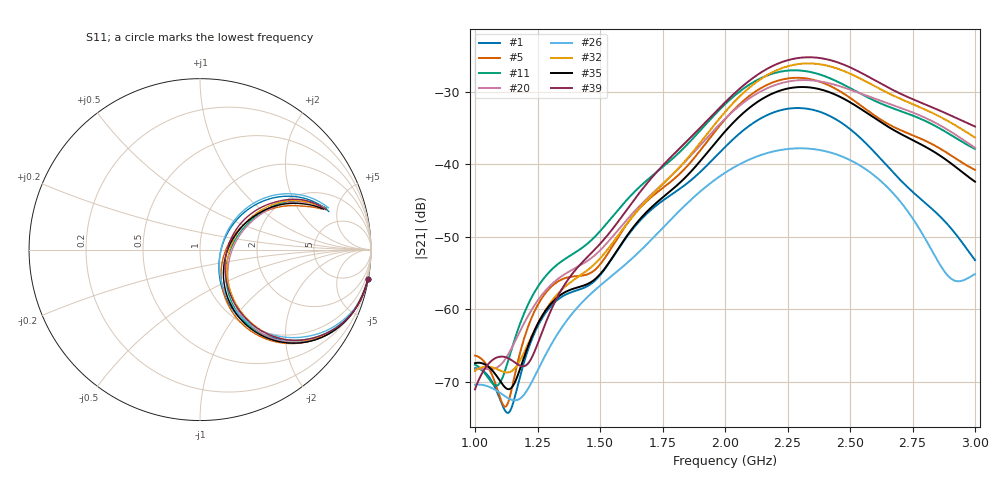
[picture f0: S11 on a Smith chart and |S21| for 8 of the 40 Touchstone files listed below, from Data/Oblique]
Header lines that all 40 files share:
! TOUCHSTONE file generated by CST MICROWAVE STUDIO
! Project name: oblique.cst
! Header version: 2024
! Port assignment regex: !\s*Touchstone port\s*([0-9]+)\s*=\s*(CST MWS port|CST DES external port|CST DES block port)\s*(.+)\s* \(\"(.*)\"\)(\s*mode\s*([0-9]+))?.*
! Touchstone port assignment:
! Touchstone port 1 = CST MWS port 1 ("")
! Touchstone port 2 = CST MWS port 2 ("")
# GHz S DB R 50
Fixed: Fracture = 1, D = 160, Feed = 2.85625, L = 100, R = 0.384908, length = 57.125, wave = 114.25
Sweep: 1 GHz to 3 GHz
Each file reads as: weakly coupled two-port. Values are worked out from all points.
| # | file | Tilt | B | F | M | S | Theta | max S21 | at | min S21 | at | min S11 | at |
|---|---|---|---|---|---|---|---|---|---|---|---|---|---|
| 1 | oblique_81.s2p | 30 | 12.5 | 15 | 50 | 1 | 270 | -32.25 dB | 2.291 GHz | -74.3 dB | 1.132 GHz | -18.4 dB | 2.364 GHz |
| 2 | oblique_82.s2p | 30 | 12.5 | 15 | 10 | 2 | 90 | -26.86 dB | 2.336 GHz | -70.3 dB | 1 GHz | -14.9 dB | 2.368 GHz |
| 3 | oblique_83.s2p | 30 | 12.5 | 15 | 10 | 2 | 180 | -26.86 dB | 2.336 GHz | -70.3 dB | 1 GHz | -14.9 dB | 2.368 GHz |
| 4 | oblique_84.s2p | 30 | 12.5 | 15 | 10 | 2 | 270 | -26.86 dB | 2.336 GHz | -70.3 dB | 1 GHz | -14.9 dB | 2.368 GHz |
| 5 | oblique_85.s2p | 30 | 12.5 | 15 | 30 | 2 | 90 | -28.09 dB | 2.289 GHz | -73.4 dB | 1.118 GHz | -16.9 dB | 2.342 GHz |
| 6 | oblique_86.s2p | 30 | 12.5 | 15 | 30 | 2 | 180 | -28.09 dB | 2.289 GHz | -73.4 dB | 1.118 GHz | -16.9 dB | 2.342 GHz |
| 7 | oblique_87.s2p | 30 | 12.5 | 15 | 30 | 2 | 270 | -28.09 dB | 2.289 GHz | -73.4 dB | 1.118 GHz | -16.9 dB | 2.342 GHz |
| 8 | oblique_88.s2p | 30 | 12.5 | 15 | 50 | 2 | 90 | -32.27 dB | 2.305 GHz | -72.6 dB | 1.139 GHz | -20.4 dB | 2.364 GHz |
| 9 | oblique_89.s2p | 30 | 12.5 | 15 | 50 | 2 | 180 | -32.27 dB | 2.305 GHz | -72.6 dB | 1.139 GHz | -20.4 dB | 2.364 GHz |
| 10 | oblique_90.s2p | 30 | 12.5 | 15 | 50 | 2 | 270 | -32.27 dB | 2.305 GHz | -72.6 dB | 1.139 GHz | -20.4 dB | 2.364 GHz |
| 11 | oblique_91.s2p | 30 | 12.5 | 25 | 10 | 1 | 90 | -27.05 dB | 2.276 GHz | -70.5 dB | 1.086 GHz | -15.4 dB | 2.336 GHz |
| 12 | oblique_92.s2p | 30 | 12.5 | 25 | 10 | 1 | 180 | -27.05 dB | 2.276 GHz | -70.5 dB | 1.086 GHz | -15.4 dB | 2.336 GHz |
| 13 | oblique_93.s2p | 30 | 12.5 | 25 | 10 | 1 | 270 | -27.05 dB | 2.276 GHz | -70.5 dB | 1.086 GHz | -15.4 dB | 2.336 GHz |
| 14 | oblique_94.s2p | 30 | 12.5 | 25 | 30 | 1 | 90 | -29.87 dB | 2.285 GHz | -75.1 dB | 1.126 GHz | -18.5 dB | 2.351 GHz |
| 15 | oblique_95.s2p | 30 | 12.5 | 25 | 30 | 1 | 180 | -29.87 dB | 2.285 GHz | -75.1 dB | 1.126 GHz | -18.5 dB | 2.351 GHz |
| 16 | oblique_96.s2p | 30 | 12.5 | 25 | 30 | 1 | 270 | -29.87 dB | 2.285 GHz | -75.1 dB | 1.126 GHz | -18.5 dB | 2.351 GHz |
| 17 | oblique_97.s2p | 30 | 12.5 | 25 | 50 | 1 | 90 | -36.13 dB | 2.281 GHz | -71.8 dB | 1.125 GHz | -18.1 dB | 2.386 GHz |
| 18 | oblique_98.s2p | 30 | 12.5 | 25 | 50 | 1 | 180 | -36.13 dB | 2.281 GHz | -71.8 dB | 1.125 GHz | -18.1 dB | 2.386 GHz |
| 19 | oblique_99.s2p | 30 | 12.5 | 25 | 50 | 1 | 270 | -36.13 dB | 2.281 GHz | -71.8 dB | 1.125 GHz | -18.1 dB | 2.386 GHz |
| 20 | oblique_100.s2p | 30 | 12.5 | 25 | 10 | 2 | 90 | -28.40 dB | 2.314 GHz | -68.3 dB | 1 GHz | -14.9 dB | 2.353 GHz |
| 21 | oblique_101.s2p | 30 | 12.5 | 25 | 10 | 2 | 180 | -28.40 dB | 2.314 GHz | -68.3 dB | 1 GHz | -14.9 dB | 2.353 GHz |
| 22 | oblique_102.s2p | 30 | 12.5 | 25 | 10 | 2 | 270 | -28.40 dB | 2.314 GHz | -68.3 dB | 1 GHz | -14.9 dB | 2.353 GHz |
| 23 | oblique_103.s2p | 30 | 12.5 | 25 | 30 | 2 | 90 | -30.31 dB | 2.296 GHz | -71.1 dB | 1.132 GHz | -19.1 dB | 2.342 GHz |
| 24 | oblique_104.s2p | 30 | 12.5 | 25 | 30 | 2 | 180 | -30.31 dB | 2.296 GHz | -71.1 dB | 1.132 GHz | -19.1 dB | 2.342 GHz |
| 25 | oblique_105.s2p | 30 | 12.5 | 25 | 30 | 2 | 270 | -30.31 dB | 2.296 GHz | -71.1 dB | 1.132 GHz | -19.1 dB | 2.342 GHz |
| 26 | oblique_106.s2p | 30 | 12.5 | 25 | 50 | 2 | 90 | -37.80 dB | 2.3 GHz | -72.5 dB | 1.16 GHz | -18.4 dB | 2.392 GHz |
| 27 | oblique_107.s2p | 30 | 12.5 | 25 | 50 | 2 | 180 | -37.80 dB | 2.3 GHz | -72.5 dB | 1.16 GHz | -18.4 dB | 2.392 GHz |
| 28 | oblique_108.s2p | 30 | 12.5 | 25 | 50 | 2 | 270 | -37.80 dB | 2.3 GHz | -72.5 dB | 1.16 GHz | -18.4 dB | 2.392 GHz |
| 29 | oblique_109.s2p | 40 | 10 | 5 | 10 | 1 | 90 | -24.32 dB | 2.322 GHz | -70.3 dB | 1.211 GHz | -16.6 dB | 2.368 GHz |
| 30 | oblique_110.s2p | 40 | 10 | 5 | 10 | 1 | 180 | -24.33 dB | 2.327 GHz | -70.0 dB | 1 GHz | -16.6 dB | 2.366 GHz |
| 31 | oblique_111.s2p | 40 | 10 | 5 | 10 | 1 | 270 | -24.32 dB | 2.322 GHz | -70.3 dB | 1.211 GHz | -16.6 dB | 2.368 GHz |
| 32 | oblique_112.s2p | 40 | 10 | 5 | 30 | 1 | 90 | -26.10 dB | 2.331 GHz | -68.7 dB | 1.126 GHz | -15.4 dB | 2.364 GHz |
| 33 | oblique_113.s2p | 40 | 10 | 5 | 30 | 1 | 180 | -26.11 dB | 2.331 GHz | -68.7 dB | 1.126 GHz | -15.4 dB | 2.364 GHz |
| 34 | oblique_114.s2p | 40 | 10 | 5 | 30 | 1 | 270 | -26.10 dB | 2.331 GHz | -68.7 dB | 1.126 GHz | -15.4 dB | 2.364 GHz |
| 35 | oblique_115.s2p | 40 | 10 | 5 | 50 | 1 | 90 | -29.36 dB | 2.309 GHz | -71.0 dB | 1.132 GHz | -16.2 dB | 2.349 GHz |
| 36 | oblique_116.s2p | 40 | 10 | 5 | 50 | 1 | 180 | -29.36 dB | 2.307 GHz | -71.7 dB | 1.139 GHz | -16.2 dB | 2.353 GHz |
| 37 | oblique_117.s2p | 40 | 10 | 5 | 50 | 1 | 270 | -29.36 dB | 2.309 GHz | -71.0 dB | 1.132 GHz | -16.2 dB | 2.349 GHz |
| 38 | oblique_118.s2p | 40 | 10 | 5 | 10 | 2 | 90 | -25.25 dB | 2.336 GHz | -71.0 dB | 1 GHz | -16.2 dB | 2.375 GHz |
| 39 | oblique_119.s2p | 40 | 10 | 5 | 10 | 2 | 180 | -25.26 dB | 2.336 GHz | -71.0 dB | 1 GHz | -16.2 dB | 2.375 GHz |
| 40 | oblique_120.s2p | 40 | 10 | 5 | 10 | 2 | 270 | -25.25 dB | 2.336 GHz | -71.0 dB | 1 GHz | -16.2 dB | 2.375 GHz |
